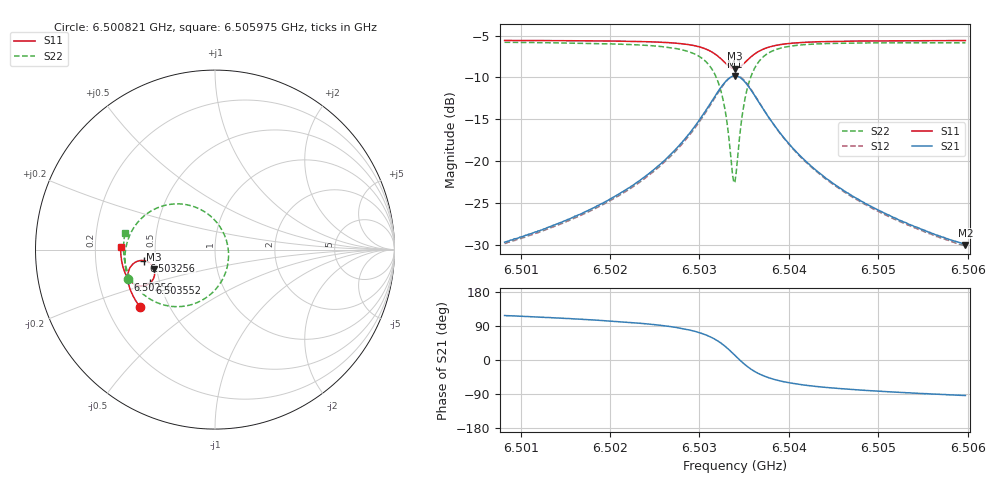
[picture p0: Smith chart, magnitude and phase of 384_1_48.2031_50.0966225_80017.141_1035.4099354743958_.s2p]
#  HZ  S  RI  R  50.00
! Rohde & Schwarz Vector Network Analyzer
! Rohde-Schwarz,ZNB20-2Port,1311601062101988,3.16
! Created: UTC 3/20/2024, 11:53:14 AM
! freq[Hz]  re:S11  im:S11  re:S21  im:S21  re:S12  im:S12  re:S22  im:S22
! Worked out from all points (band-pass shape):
!   401 points, 6.500821 GHz to 6.505975 GHz, reference 50 ohm
!   highest |S21| = -9.81 dB at 6.503398 GHz (marker M1); lowest = -30.0 dB at 6.505975 GHz (marker M2)
!   |S21| within 3 dB of the highest: 6.50314 GHz to 6.503656 GHz (515.9 kHz wide, 0.00793 % of centre)
!   lowest |S11| = -9.0 dB at 6.503398 GHz (marker M3), VSWR 2.11, Z = 24.2 - j6.07 ohm
!   |S11| at or under -10 dB: nowhere
!   |S22| runs from -22.6 to -5.8 dB; largest |S21 - S12| = 0.011
!   S11 on the Smith chart (normalised r, x): 6.500821 GHz: 0.34, -0.30; 6.50256 GHz: 0.33, -0.15; 6.503256 GHz: 0.43, -0.06; 6.503552 GHz: 0.44, -0.20; 6.505975 GHz: 0.31, +0.01
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6.5008207e9  -0.4203 -0.3173  -0.0151 0.029  -0.0133 0.0292  -0.4859 -0.166
6.501684e9  -0.4583 -0.2544  -0.0145 0.0463  -0.0121 0.0461  -0.5012 -0.0762
6.5021607e9  -0.4755 -0.213  -0.0118 0.0655  -0.00885 0.0645  -0.4994 -0.0102
6.5025473e9  -0.4852 -0.1712  -0.00335 0.0944  0.000427 0.0921  -0.4814 0.0646
6.5025601e9  -0.4855 -0.1695  -0.00268 0.0955  0.000885 0.0934  -0.4801 0.0677
6.5028049e9  -0.4849 -0.1344  0.0152 0.1284  0.0191 0.1247  -0.4423 0.137
6.5029853e9  -0.4736 -0.1012  0.0497 0.1644  0.0528 0.1591  -0.3749 0.203
6.5031528e9  -0.4394 -0.0682  0.1262 0.1976  0.1274 0.1912  -0.2342 0.2538
6.5032559e9  -0.3972 -0.061  0.2106 0.1892  0.2108 0.184  -0.0875 0.2272
6.5033074e9  -0.372 -0.0694  0.2585 0.1619  0.2593 0.1571  -0.00775 0.1707
6.5033719e9  -0.3455 -0.0954  0.306 0.0994  0.3083 0.0944  0.0637 0.0507
6.5033976e9  -0.3392 -0.1096  0.3161 0.0676  0.3191 0.062  0.0748 -0.00838
6.5034105e9  -0.3373 -0.1173  0.3188 0.0511  0.322 0.0449  0.0756 -0.0385
6.5034878e9  -0.3429 -0.1615  0.3025 -0.0422  0.3046 -0.0519  0.0194 -0.2017
6.5035523e9  -0.3639 -0.1871  0.2608 -0.0958  0.2595 -0.1067  -0.0751 -0.2836
6.5036553e9  -0.4027 -0.202  0.1874 -0.1318  0.1821 -0.1409  -0.2224 -0.3178
6.5038228e9  -0.4483 -0.1924  0.1069 -0.1291  0.1001 -0.134  -0.3673 -0.2723
6.5040032e9  -0.4754 -0.1711  0.0633 -0.1095  0.0571 -0.1118  -0.4386 -0.2087
6.5042609e9  -0.496 -0.1411  0.0337 -0.0859  0.0289 -0.0864  -0.4813 -0.1373
6.5046474e9  -0.5116 -0.1014  0.0147 -0.0631  0.0116 -0.0628  -0.5035 -0.0629
6.5051242e9  -0.521 -0.0576  0.00501 -0.0471  0.00281 -0.0463  -0.5098 0.00276
6.5059746e9  -0.5258 0.0141  -0.00206 -0.0314  -0.00334 -0.0308  -0.5016 0.0912
